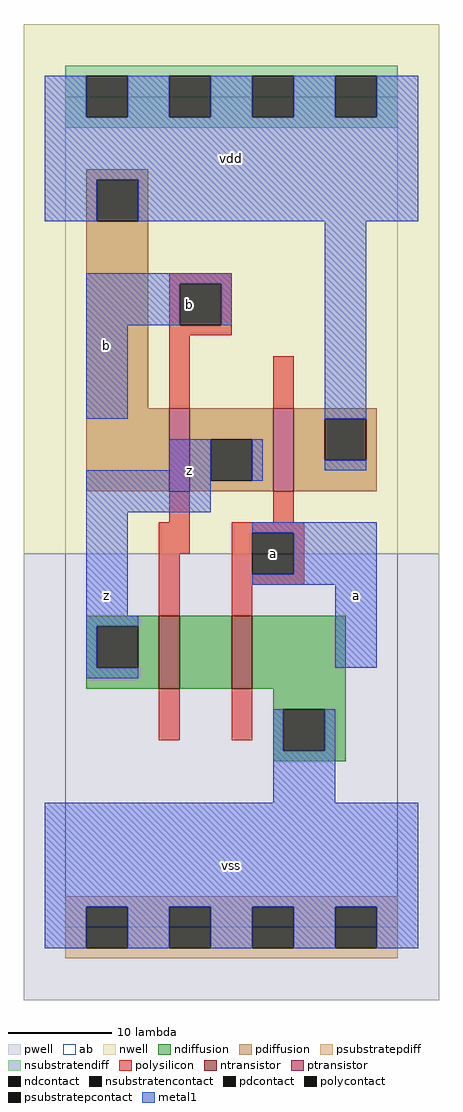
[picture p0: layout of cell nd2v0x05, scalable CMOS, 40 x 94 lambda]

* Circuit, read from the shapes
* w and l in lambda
.subckt nd2v0x05 a b vdd vss z
M1 n1 b z vss nfet w=7 l=2
M2 vss a n1 vss nfet w=7 l=2
M3 z b vdd vdd pfet w=8 l=2
M4 vdd a z vdd pfet w=8 l=2
.ends

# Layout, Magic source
magic
tech scmos
<< ab >>
rect 0 0 32 80
<< pwell >>
rect -4 -7 36 36
<< nwell >>
rect -4 36 36 87
<< polysilicon >>
rect 10 62 16 63
rect 10 58 11 62
rect 15 58 16 62
rect 10 57 16 58
rect 10 50 12 57
rect 20 50 22 55
rect 10 39 12 42
rect 20 39 22 42
rect 9 36 12 39
rect 16 38 23 39
rect 9 30 11 36
rect 16 34 18 38
rect 22 34 23 38
rect 16 33 23 34
rect 16 30 18 33
rect 9 18 11 23
rect 16 18 18 23
<< ndiffusion >>
rect 2 29 9 30
rect 2 25 3 29
rect 7 25 9 29
rect 2 23 9 25
rect 11 23 16 30
rect 18 23 27 30
rect 20 21 27 23
rect 20 17 21 21
rect 25 17 27 21
rect 20 16 27 17
<< pdiffusion >>
rect 2 72 8 73
rect 2 68 3 72
rect 7 68 8 72
rect 2 50 8 68
rect 2 42 10 50
rect 12 47 20 50
rect 12 43 14 47
rect 18 43 20 47
rect 12 42 20 43
rect 22 49 30 50
rect 22 45 25 49
rect 29 45 30 49
rect 22 42 30 45
<< metal1 >>
rect -2 78 2 82
rect 6 78 10 82
rect 14 78 18 82
rect 22 78 26 82
rect 30 78 34 82
rect -2 72 34 78
rect -2 68 3 72
rect 7 68 34 72
rect 2 62 16 63
rect 2 58 11 62
rect 15 58 16 62
rect 2 49 6 58
rect 25 49 29 68
rect 10 44 14 47
rect 2 40 14 44
rect 18 43 19 47
rect 25 44 29 45
rect 2 30 6 40
rect 18 38 30 39
rect 22 34 30 38
rect 18 33 30 34
rect 2 29 7 30
rect 2 25 3 29
rect 26 25 30 33
rect 2 24 7 25
rect 20 17 21 21
rect 25 17 26 21
rect 20 12 26 17
rect -2 2 34 12
rect -2 -2 2 2
rect 6 -2 10 2
rect 14 -2 18 2
rect 22 -2 26 2
rect 30 -2 34 2
<< ntransistor >>
rect 9 23 11 30
rect 16 23 18 30
<< ptransistor >>
rect 10 42 12 50
rect 20 42 22 50
<< polycontact >>
rect 11 58 15 62
rect 18 34 22 38
<< ndcontact >>
rect 3 25 7 29
rect 21 17 25 21
<< pdcontact >>
rect 3 68 7 72
rect 14 43 18 47
rect 25 45 29 49
<< psubstratepcontact >>
rect 2 -2 6 2
rect 10 -2 14 2
rect 18 -2 22 2
rect 26 -2 30 2
<< nsubstratencontact >>
rect 2 78 6 82
rect 10 78 14 82
rect 18 78 22 82
rect 26 78 30 82
<< psubstratepdiff >>
rect 0 2 32 3
rect 0 -2 2 2
rect 6 -2 10 2
rect 14 -2 18 2
rect 22 -2 26 2
rect 30 -2 32 2
rect 0 -3 32 -2
<< nsubstratendiff >>
rect 0 82 32 83
rect 0 78 2 82
rect 6 78 10 82
rect 14 78 18 82
rect 22 78 26 82
rect 30 78 32 82
rect 0 77 32 78
<< labels >>
rlabel metal1 4 32 4 32 6 z
rlabel metal1 4 56 4 56 6 b
rlabel metal1 12 44 12 44 6 z
rlabel polycontact 12 60 12 60 6 b
rlabel metal1 16 6 16 6 6 vss
rlabel polycontact 20 36 20 36 6 a
rlabel metal1 16 74 16 74 6 vdd
rlabel metal1 28 32 28 32 6 a
<< end >>
